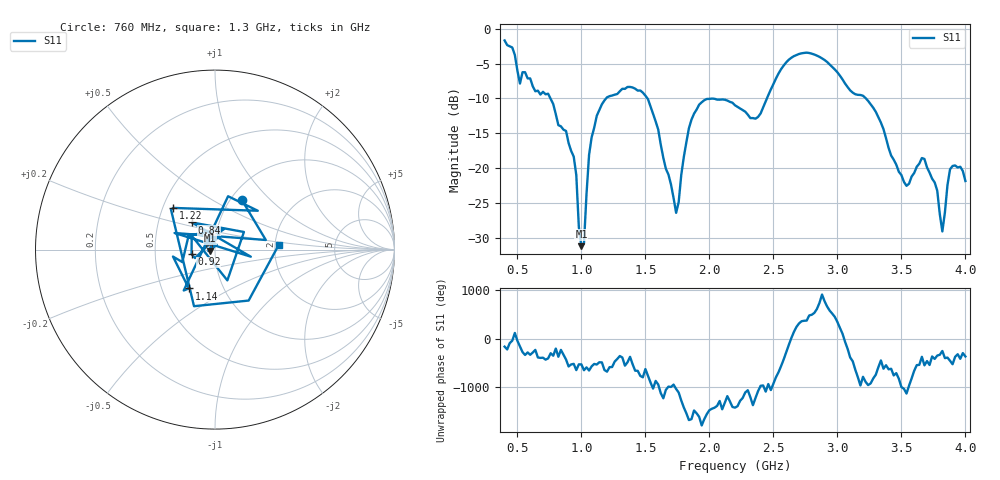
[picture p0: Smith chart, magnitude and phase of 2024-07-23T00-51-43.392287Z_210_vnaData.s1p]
!Created with skrf (http://scikit-rf.org).
# Hz S RI R 50.0
!freq ReS11 ImS11
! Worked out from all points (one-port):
!   181 points, 400 MHz to 4 GHz, reference 50 ohm
!   lowest |S11| = -31.2 dB at 1 GHz (marker M1), VSWR 1.06, Z = 47.4 - j0.539 ohm
!   |S11| at or under -10 dB: 758.5 MHz to 1.193 GHz (434.4 MHz wide, 44.5 % of centre); 1.516 GHz to 2.449 GHz (933.3 MHz wide, 47.1 % of centre); 3.223 GHz to end of sweep
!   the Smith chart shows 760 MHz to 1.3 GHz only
!   S11 on the Smith chart (normalised r, x): 760 MHz: 1.13, +0.69; 840 MHz: 0.74, +0.23; 920 MHz: 0.77, -0.04; 1.14 GHz: 0.69, -0.32; 1.22 GHz: 0.57, +0.30; 1.3 GHz: 2.10, +0.12
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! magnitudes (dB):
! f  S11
! 400 MHz  -1.7
! 520 MHz  -7.9
! 760 MHz  -10.1
! 840 MHz  -14.0
! 860 MHz  -14.5
! 920 MHz  -17.5
! 960 MHz  -21.0
! 1 GHz  -31.2
! 1.02 GHz  -30.8
! 1.06 GHz  -18.1
! 1.14 GHz  -11.7
! 1.22 GHz  -9.7
! 1.3 GHz  -9.0
! 1.52 GHz  -10.1
! 1.74 GHz  -26.4
! 1.76 GHz  -24.9
! 1.84 GHz  -14.3
! 1.92 GHz  -10.9
! 2.2 GHz  -11.0
! 2.38 GHz  -12.7
! 2.66 GHz  -3.9
! 3.1 GHz  -8.8
! 3.56 GHz  -22.2
! 3.68 GHz  -18.7
! 3.78 GHz  -23.2
! 3.82 GHz  -29.1
! 3.88 GHz  -20.2
! 4 GHz  -21.8
